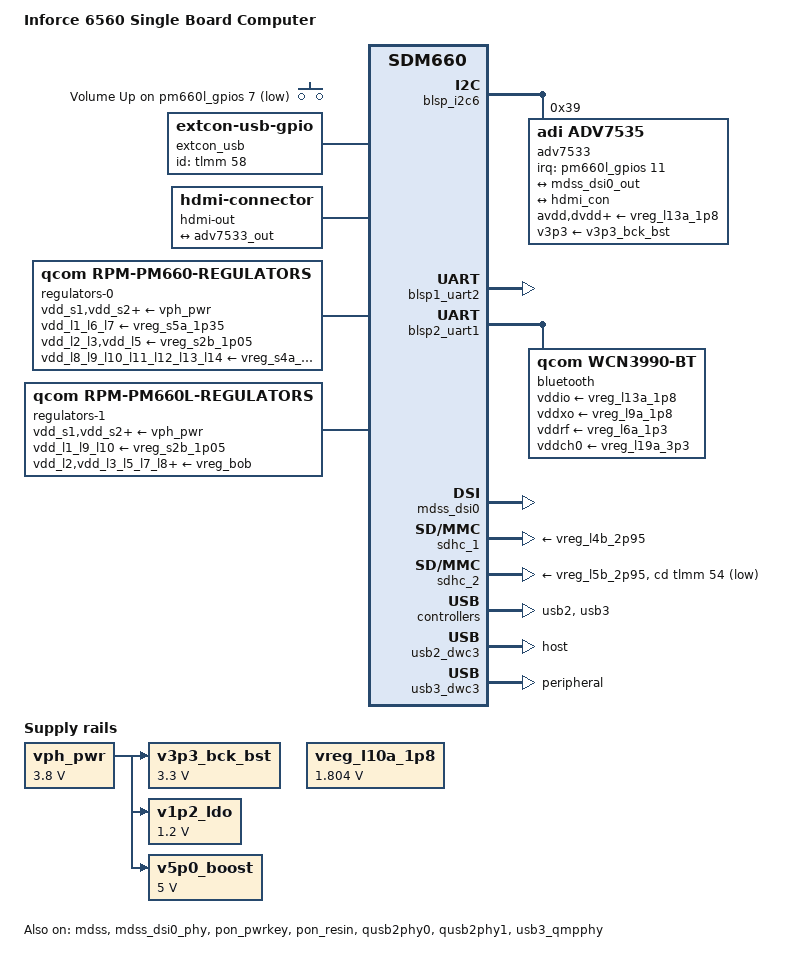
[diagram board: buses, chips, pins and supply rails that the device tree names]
// SPDX-License-Identifier: BSD-3-Clause
/*
 * Copyright (c) 2021, Linaro Ltd.
 * Copyright (c) 2020, Konrad Dybcio <konrad.dybcio@somainline.org>
 * Copyright (c) 2020, AngeloGioacchino Del Regno
 *                     <angelogioacchino.delregno@somainline.org>
 */

/dts-v1/;

#include "sdm660.dtsi"
#include "pm660.dtsi"
#include "pm660l.dtsi"

/ {
	model = "Inforce 6560 Single Board Computer";
	compatible = "inforce,ifc6560", "qcom,sda660";
	chassis-type = "embedded"; /* SBC */

	aliases {
		serial0 = &blsp1_uart2;
		serial1 = &blsp2_uart1;
	};

	chosen {
		stdout-path = "serial0:115200n8";
	};

	gpio-keys {
		compatible = "gpio-keys";

		key-volup {
			label = "Volume Up";
			gpios = <&pm660l_gpios 7 GPIO_ACTIVE_LOW>;
			linux,code = <KEY_VOLUMEUP>;
			debounce-interval = <15>;
		};
	};

	/*
	 * Until we hook up type-c detection, we
	 * have to stick with this. But it works.
	 */
	extcon_usb: extcon-usb {
		compatible = "linux,extcon-usb-gpio";
		id-gpios = <&tlmm 58 GPIO_ACTIVE_HIGH>;
	};

	hdmi-out {
		compatible = "hdmi-connector";
		type = "a";

		port {
			hdmi_con: endpoint {
				remote-endpoint = <&adv7533_out>;
			};
		};
	};

	vph_pwr: vph-pwr-regulator {
		compatible = "regulator-fixed";
		regulator-name = "vph_pwr";
		regulator-min-microvolt = <3800000>;
		regulator-max-microvolt = <3800000>;

		regulator-always-on;
		regulator-boot-on;
	};

	v3p3_bck_bst: v3p3-bck-bst-regulator {
		compatible = "regulator-fixed";
		regulator-name = "v3p3_bck_bst";

		regulator-min-microvolt = <3300000>;
		regulator-max-microvolt = <3300000>;

		vin-supply = <&vph_pwr>;
	};

	v1p2_ldo: v1p2-ldo-regulator {
		compatible = "regulator-fixed";
		regulator-name = "v1p2_ldo";

		regulator-min-microvolt = <1200000>;
		regulator-max-microvolt = <1200000>;

		vin-supply = <&vph_pwr>;
	};

	v5p0_boost: v5p0-boost-regulator {
		compatible = "regulator-fixed";
		regulator-name = "v5p0_boost";

		regulator-min-microvolt = <5000000>;
		regulator-max-microvolt = <5000000>;

		vin-supply = <&vph_pwr>;
	};

	/*
	 * this is also used for APC1 CPU power, touching it resets the board
	 */
	vreg_l10a_1p8: vreg-l10a-regulator {
		compatible = "regulator-fixed";
		regulator-name = "vreg_l10a_1p8";
		regulator-min-microvolt = <1804000>;
		regulator-max-microvolt = <1804000>;
		regulator-always-on;
		regulator-boot-on;
	};
};

&adsp_pil {
	firmware-name = "qcom/sda660/adsp.mbn";
};

&blsp_i2c6 {
	status = "okay";

	adv7533: hdmi@39 {
		compatible = "adi,adv7535";
		reg = <0x39>, <0x66>;
		reg-names = "main", "edid";

		interrupt-parent = <&pm660l_gpios>;
		interrupts = <11 IRQ_TYPE_EDGE_FALLING>;

		clocks = <&rpmcc RPM_SMD_BB_CLK2>;
		clock-names = "cec";
		/*
		 * Limit to 3 lanes to prevent the bridge from changing amount
		 * of lanes in the fly. MSM DSI host doesn't like that.
		 */
		adi,dsi-lanes = <3>;
		avdd-supply = <&vreg_l13a_1p8>;
		dvdd-supply = <&vreg_l13a_1p8>;
		pvdd-supply = <&vreg_l13a_1p8>;
		a2vdd-supply = <&vreg_l13a_1p8>;
		v3p3-supply = <&v3p3_bck_bst>;

		ports {
			#address-cells = <1>;
			#size-cells = <0>;

			port@0 {
				reg = <0>;

				adv7533_in: endpoint {
					remote-endpoint = <&mdss_dsi0_out>;
				};
			};

			port@1 {
				reg = <1>;

				adv7533_out: endpoint {
					remote-endpoint = <&hdmi_con>;
				};
			};
		};
	};
};

&blsp1_dma {
	/*
	 * The board will lock up if we toggle the BLSP clock, unless the
	 * BAM DMA interconnects support is in place.
	 */
	/delete-property/ clocks;
};

&blsp1_uart2 {
	status = "okay";
};

&blsp2_dma {
	/*
	 * The board will lock up if we toggle the BLSP clock, unless the
	 * BAM DMA interconnects support is in place.
	 */
	/delete-property/ clocks;
};

&blsp2_uart1 {
	status = "okay";

	bluetooth {
		compatible = "qcom,wcn3990-bt";

		vddio-supply = <&vreg_l13a_1p8>;
		vddxo-supply = <&vreg_l9a_1p8>;
		vddrf-supply = <&vreg_l6a_1p3>;
		vddch0-supply = <&vreg_l19a_3p3>;
		max-speed = <3200000>;
	};
};

&mdss {
	status = "okay";
};

&mdss_dsi0 {
	status = "okay";
	vdda-supply = <&vreg_l1a_1p225>;
};

&mdss_dsi0_out {
	remote-endpoint = <&adv7533_in>;
	data-lanes = <0 1 2 3>;
};

&mdss_dsi0_phy {
	status = "okay";
	vcca-supply = <&vreg_l1b_0p925>;
};

&mmss_smmu {
	status = "okay";
};

&pon_pwrkey {
	status = "okay";
};

&pon_resin {
	status = "okay";

	linux,code = <KEY_VOLUMEUP>;
};

&qusb2phy0 {
	status = "okay";

	vdd-supply = <&vreg_l1b_0p925>;
	vdda-pll-supply = <&vreg_l10a_1p8>;
	vdda-phy-dpdm-supply = <&vreg_l7b_3p125>;
};

&qusb2phy1 {
	status = "okay";

	vdd-supply = <&vreg_l1b_0p925>;
	vdda-pll-supply = <&vreg_l10a_1p8>;
	vdda-phy-dpdm-supply = <&vreg_l7b_3p125>;
};

&rpm_requests {
	regulators-0 {
		compatible = "qcom,rpm-pm660-regulators";

		vdd_s1-supply = <&vph_pwr>;
		vdd_s2-supply = <&vph_pwr>;
		vdd_s3-supply = <&vph_pwr>;
		vdd_s4-supply = <&vph_pwr>;
		vdd_s5-supply = <&vph_pwr>;
		vdd_s6-supply = <&vph_pwr>;

		vdd_l1_l6_l7-supply = <&vreg_s5a_1p35>;
		vdd_l2_l3-supply = <&vreg_s2b_1p05>;
		vdd_l5-supply = <&vreg_s2b_1p05>;
		vdd_l8_l9_l10_l11_l12_l13_l14-supply = <&vreg_s4a_2p04>;
		vdd_l15_l16_l17_l18_l19-supply = <&vreg_bob>;

		vreg_s4a_2p04: s4 {
			regulator-min-microvolt = <1805000>;
			regulator-max-microvolt = <2040000>;
			regulator-enable-ramp-delay = <200>;
			regulator-ramp-delay = <0>;
			regulator-always-on;
		};

		vreg_s5a_1p35: s5 {
			regulator-min-microvolt = <1224000>;
			regulator-max-microvolt = <1350000>;
			regulator-enable-ramp-delay = <200>;
			regulator-ramp-delay = <0>;
		};

		vreg_l1a_1p225: l1 {
			regulator-min-microvolt = <1150000>;
			regulator-max-microvolt = <1250000>;
			regulator-enable-ramp-delay = <250>;
			regulator-allow-set-load;
		};

		vreg_l6a_1p3: l6 {
			regulator-min-microvolt = <1304000>;
			regulator-max-microvolt = <1368000>;
			regulator-enable-ramp-delay = <250>;
			regulator-ramp-delay = <0>;
			regulator-allow-set-load;
		};

		vreg_l8a_1p8: l8 {
			regulator-min-microvolt = <1800000>;
			regulator-max-microvolt = <1800000>;
			regulator-enable-ramp-delay = <250>;
			regulator-ramp-delay = <0>;
			regulator-system-load = <325000>;
			regulator-allow-set-load;
		};

		vreg_l9a_1p8: l9 {
			regulator-min-microvolt = <1804000>;
			regulator-max-microvolt = <1896000>;
			regulator-enable-ramp-delay = <250>;
			regulator-ramp-delay = <0>;
			regulator-allow-set-load;
		};

		vreg_l13a_1p8: l13 {
			/* This gives power to the LPDDR4: never turn it off! */
			regulator-min-microvolt = <1800000>;
			regulator-max-microvolt = <1944000>;
			regulator-enable-ramp-delay = <250>;
			regulator-ramp-delay = <0>;
			regulator-always-on;
			regulator-boot-on;
		};

		vreg_l19a_3p3: l19 {
			regulator-min-microvolt = <3312000>;
			regulator-max-microvolt = <3400000>;
			regulator-enable-ramp-delay = <250>;
			regulator-ramp-delay = <0>;
			regulator-allow-set-load;
		};
	};

	regulators-1 {
		compatible = "qcom,rpm-pm660l-regulators";

		vdd_s1-supply = <&vph_pwr>;
		vdd_s2-supply = <&vph_pwr>;
		vdd_s3_s4-supply = <&vph_pwr>;
		vdd_s5-supply = <&vph_pwr>;
		vdd_s6-supply = <&vph_pwr>;

		vdd_l1_l9_l10-supply = <&vreg_s2b_1p05>;
		vdd_l2-supply = <&vreg_bob>;
		vdd_l3_l5_l7_l8-supply = <&vreg_bob>;
		vdd_l4_l6-supply = <&vreg_bob>;
		vdd_bob-supply = <&vph_pwr>;

		vreg_s2b_1p05: s2 {
			regulator-min-microvolt = <1050000>;
			regulator-max-microvolt = <1050000>;
			regulator-enable-ramp-delay = <200>;
			regulator-ramp-delay = <0>;
		};

		vreg_l1b_0p925: l1 {
			regulator-min-microvolt = <800000>;
			regulator-max-microvolt = <925000>;
			regulator-enable-ramp-delay = <250>;
			regulator-allow-set-load;
		};

		vreg_l2b_2p95: l2 {
			regulator-min-microvolt = <1648000>;
			regulator-max-microvolt = <3100000>;
			regulator-enable-ramp-delay = <250>;
			regulator-ramp-delay = <0>;
			regulator-allow-set-load;
		};

		vreg_l4b_2p95: l4 {
			regulator-min-microvolt = <2944000>;
			regulator-max-microvolt = <2952000>;
			regulator-enable-ramp-delay = <250>;
			regulator-ramp-delay = <0>;

			regulator-min-microamp = <200>;
			regulator-max-microamp = <600000>;
			regulator-system-load = <570000>;
			regulator-allow-set-load;
		};

		/*
		 * Downstream specifies a range of 1721-3600mV,
		 * but the only assigned consumers are SDHCI2 VMMC
		 * and Coresight QPDI that both request pinned 2.95V.
		 * Tighten the range to 1.8-3.328 (closest to 3.3) to
		 * make the mmc driver happy.
		 */
		vreg_l5b_2p95: l5 {
			regulator-min-microvolt = <1800000>;
			regulator-max-microvolt = <3328000>;
			regulator-enable-ramp-delay = <250>;
			regulator-system-load = <800000>;
			regulator-ramp-delay = <0>;
			regulator-allow-set-load;
		};

		vreg_l7b_3p125: l7 {
			regulator-min-microvolt = <2700000>;
			regulator-max-microvolt = <3125000>;
			regulator-enable-ramp-delay = <250>;
		};

		vreg_l8b_3p3: l8 {
			regulator-min-microvolt = <2800000>;
			regulator-max-microvolt = <3400000>;
			regulator-enable-ramp-delay = <250>;
			regulator-ramp-delay = <0>;
		};

		vreg_bob: bob {
			regulator-min-microvolt = <3300000>;
			regulator-max-microvolt = <3624000>;
			regulator-enable-ramp-delay = <500>;
			regulator-ramp-delay = <0>;
		};
	};
};

&sdc2_state_on {
	sd-cd-pins {
		pins = "gpio54";
		function = "gpio";
		bias-pull-up;
		drive-strength = <2>;
	};
};

&sdc2_state_off {
	sd-cd-pins {
		pins = "gpio54";
		function = "gpio";
		bias-disable;
		drive-strength = <2>;
	};
};

&sdhc_1 {
	status = "okay";
	supports-cqe;

	vmmc-supply = <&vreg_l4b_2p95>;
	vqmmc-supply = <&vreg_l8a_1p8>;

	mmc-ddr-1_8v;
	mmc-hs400-1_8v;
	mmc-hs400-enhanced-strobe;
};

&sdhc_2 {
	status = "okay";

	vmmc-supply = <&vreg_l5b_2p95>;
	vqmmc-supply = <&vreg_l2b_2p95>;

	cd-gpios = <&tlmm 54 GPIO_ACTIVE_LOW>;
	no-sdio;
	no-mmc;
};

&tlmm {
	gpio-reserved-ranges = <0 4>, <8 4>;
};

&usb2 {
	status = "okay";
};

&usb2_dwc3 {
	dr_mode = "host";
};

&usb3 {
	status = "okay";
};

&usb3_dwc3 {
	dr_mode = "peripheral";
	extcon = <&extcon_usb>;
};

&usb3_qmpphy {
	vdda-phy-supply = <&vreg_l1b_0p925>;
	vdda-pll-supply = <&vreg_l10a_1p8>;
	status = "okay";
};
